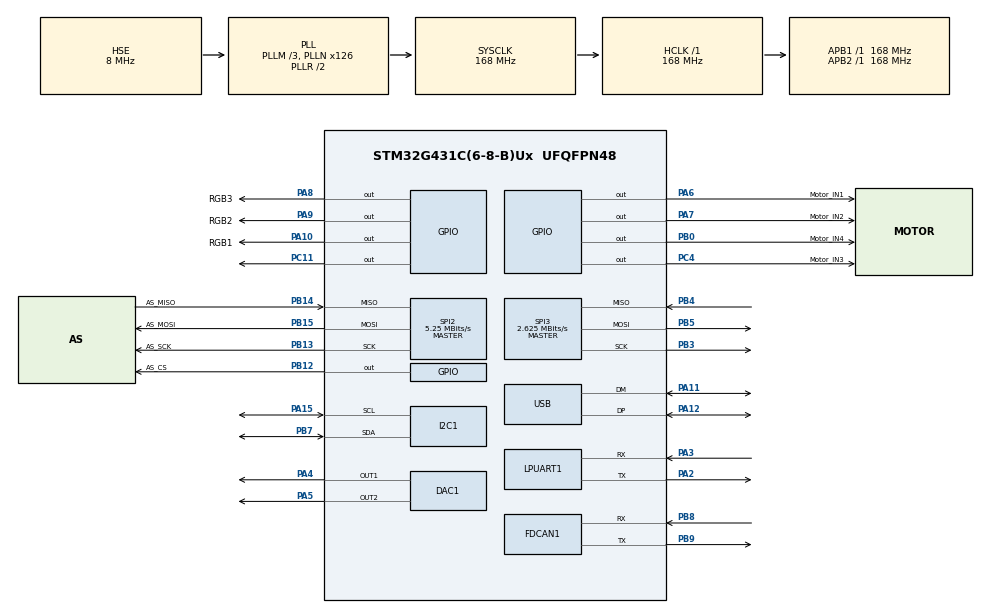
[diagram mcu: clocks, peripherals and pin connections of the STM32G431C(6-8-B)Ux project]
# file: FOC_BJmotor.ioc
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DAC1.DAC_Channel-DAC_OUT2=DAC_CHANNEL_2
FDCAN1.CalculateBaudRateNominal=2100000
FDCAN1.CalculateTimeBitNominal=476
FDCAN1.CalculateTimeQuantumNominal=95.23809523809524
I2C1.Timing=0x60505F8C
Mcu.Family=STM32G4
Mcu.Name=STM32G431C(6-8-B)Ux
Mcu.Package=UFQFPN48
NVIC.PriorityGroup=NVIC_PRIORITYGROUP_4
NVIC.TIM6_DAC_IRQn=true\:2\:0\:true\:false\:true\:true\:true\:true
NVIC.USB_LP_IRQn=true\:0\:0\:false\:false\:true\:false\:true\:true
PA10.GPIO_Label=RGB1
PA10.Signal=GPIO_Output
PA11.Mode=Device
PA11.Signal=USB_DM
PA12.Mode=Device
PA12.Signal=USB_DP
PA13.Mode=Serial_Wire
PA13.Signal=SYS_JTMS-SWDIO
PA14.Mode=Serial_Wire
PA14.Signal=SYS_JTCK-SWCLK
PA15.Mode=I2C
PA15.Signal=I2C1_SCL
PA2.Mode=Asynchronous
PA2.Signal=LPUART1_TX
PA3.Mode=Asynchronous
PA3.Signal=LPUART1_RX
PA4.Signal=COMP_DAC11_group
PA5.Signal=COMP_DAC12_group
PA6.GPIO_Label=Motor_IN1
PA6.Signal=GPIO_Output
PA7.GPIO_Label=Motor_IN2
PA7.Signal=GPIO_Output
PA8.GPIO_Label=RGB3
PA8.Signal=GPIO_Output
PA9.GPIO_Label=RGB2
PA9.Signal=GPIO_Output
PB0.GPIO_Label=Motor_IN4
PB0.Signal=GPIO_Output
PB12.GPIO_Label=AS_CS
PB12.Signal=GPIO_Output
PB13.GPIO_Label=AS_SCK
PB13.Mode=Full_Duplex_Master
PB13.Signal=SPI2_SCK
PB14.GPIO_Label=AS_MISO
PB14.Mode=Full_Duplex_Master
PB14.Signal=SPI2_MISO
PB15.GPIO_Label=AS_MOSI
PB15.Mode=Full_Duplex_Master
PB15.Signal=SPI2_MOSI
PB3.Mode=Full_Duplex_Master
PB3.Signal=SPI3_SCK
PB4.Mode=Full_Duplex_Master
PB4.Signal=SPI3_MISO
PB5.Mode=Full_Duplex_Master
PB5.Signal=SPI3_MOSI
PB7.Mode=I2C
PB7.Signal=I2C1_SDA
PB8-BOOT0.Mode=FDCAN_Activate
PB8-BOOT0.Signal=FDCAN1_RX
PB9.Mode=FDCAN_Activate
PB9.Signal=FDCAN1_TX
PC11.Signal=GPIO_Output
PC4.GPIO_Label=Motor_IN3
PC4.Signal=GPIO_Output
PF0-OSC_IN.Mode=HSE-External-Clock-Source
PF0-OSC_IN.Signal=RCC_OSC_IN
ProjectManager.HeapSize=0x200
ProjectManager.StackSize=0x400
ProjectManager.TargetToolchain=MDK-ARM V5.32
RCC.ADC12Freq_Value=168000000
RCC.AHBFreq_Value=168000000
RCC.APB1Freq_Value=168000000
RCC.APB1TimFreq_Value=168000000
RCC.APB2Freq_Value=168000000
RCC.APB2TimFreq_Value=168000000
RCC.CK48CLockSelection=RCC_USBCLKSOURCE_HSI48
RCC.CortexFreq_Value=168000000
RCC.EXTERNAL_CLOCK_VALUE=12288000
RCC.HCLKFreq_Value=168000000
RCC.HSE_VALUE=8000000
RCC.HSI48_VALUE=48000000
RCC.HSI_VALUE=16000000
RCC.LSE_VALUE=32768
RCC.PLLM=RCC_PLLM_DIV3
RCC.PLLN=126
RCC.PLLQ=RCC_PLLQ_DIV6
RCC.PLLSourceVirtual=RCC_PLLSOURCE_HSE
RCC.SYSCLKFreq_VALUE=168000000
RCC.SYSCLKSource=RCC_SYSCLKSOURCE_PLLCLK
RCC.USBFreq_Value=48000000
RCC.VCOOutputFreq_Value=336000000
SH.COMP_DAC11_group.0=DAC1_OUT1,DAC_OUT1
SH.COMP_DAC12_group.0=DAC1_OUT2,DAC_OUT2
SPI2.BaudRatePrescaler=SPI_BAUDRATEPRESCALER_32
SPI2.CLKPhase=SPI_PHASE_2EDGE
SPI2.CalculateBaudRate=5.25 MBits/s
SPI2.DataSize=SPI_DATASIZE_16BIT
SPI2.Direction=SPI_DIRECTION_2LINES
SPI2.Mode=SPI_MODE_MASTER
SPI2.VirtualType=VM_MASTER
SPI3.BaudRatePrescaler=SPI_BAUDRATEPRESCALER_64
SPI3.CLKPhase=SPI_PHASE_2EDGE
SPI3.CalculateBaudRate=2.625 MBits/s
SPI3.Direction=SPI_DIRECTION_2LINES
SPI3.Mode=SPI_MODE_MASTER
SPI3.VirtualType=VM_MASTER
TIM6.AutoReloadPreload=TIM_AUTORELOAD_PRELOAD_ENABLE
TIM6.PeriodNoDither=1680
TIM6.Prescaler=10
USB_DEVICE.CLASS_NAME_FS=CDC
USB_DEVICE.VirtualMode=Cdc
USB_DEVICE.VirtualModeFS=Cdc_FS
VP_SYS_VS_DBSignals.Mode=DisableDeadBatterySignals
VP_TIM6_VS_ClockSourceINT.Mode=Enable_Timer
VP_USB_DEVICE_VS_USB_DEVICE_CDC_FS.Mode=CDC_FS
board=custom

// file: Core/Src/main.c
/* USER CODE BEGIN Header */
/**
  ******************************************************************************
  * @file           : main.c
  * @brief          : Main program body
  ******************************************************************************
  * @attention
  *
  * Copyright (c) 2024 STMicroelectronics.
  * All rights reserved.
  *
  * This software is licensed under terms that can be found in the LICENSE file
  * in the root directory of this software component.
  * If no LICENSE file comes with this software, it is provided AS-IS.
  *
  ******************************************************************************
  */
/* USER CODE END Header */
#include "main.h"
#include "usb_device.h"

/* USER CODE BEGIN Includes */
#include "arm_math.h"
#include "stdbool.h"
#include "./FocCtr.h"
#include "./pll.h"
/* USER CODE END Includes */

/* USER CODE BEGIN PTD */

#define AS_CS_H HAL_GPIO_WritePin(GPIOB, AS_CS_Pin, 1);
#define AS_CS_L HAL_GPIO_WritePin(GPIOB, AS_CS_Pin, 0);

/* USER CODE END PTD */

DAC_HandleTypeDef hdac1;

FDCAN_HandleTypeDef hfdcan1;

I2C_HandleTypeDef hi2c1;

UART_HandleTypeDef hlpuart1;

SPI_HandleTypeDef hspi2;
SPI_HandleTypeDef hspi3;

TIM_HandleTypeDef htim6;

void SystemClock_Config(void);
static void MX_GPIO_Init(void);
static void MX_DAC1_Init(void);
static void MX_FDCAN1_Init(void);
static void MX_I2C1_Init(void);
static void MX_LPUART1_UART_Init(void);
static void MX_SPI2_Init(void);
static void MX_SPI3_Init(void);
static void MX_TIM6_Init(void);
/* USER CODE BEGIN PFP */

struct send_data my_data;
extern uint8_t CDC_Transmit_FS(uint8_t* Buf, uint16_t Len);

void send(char *dat,uint32_t len)
{

      	CDC_Transmit_FS((uint8_t *)dat, len);

}

uint16_t SPI_recive_data;

uint16_t SPI_send_data,SPI_recive_data_begin;

void Get_Aagel()
{
	SPI_send_data|=0x3fff;
	AS_CS_L
	HAL_SPI_TransmitReceive(&hspi2,(uint8_t*)&SPI_send_data,(uint8_t*)&SPI_recive_data,1,10);
	SPI_recive_data &= 0x3fff;
	AS_CS_H
	if(isready==0)
	{
		SPI_recive_data_begin=SPI_recive_data;

	}

}

/* USER CODE END PFP */

/* USER CODE BEGIN 0 */

uint8_t Times2,times4;
int Times20;
uint8_t fangxiang=0;
void HAL_TIM_PeriodElapsedCallback(TIM_HandleTypeDef *htim)
{
	if(htim == &htim6)  //判断中断是否来自于定时器1
   {
		 Times2++;
		 times4++;
		 Times20++;
			HAL_GPIO_TogglePin(GPIOA,RGB3_Pin);  //翻转LED灯的状态

			Get_Aagel();

		  SVPWM();
		 if(isready==1)
		 {
				speed_loop();
		 }
		  if(times4==4&&isready==1)
			{
					Position_loop();
					times4=0;
			}

		 if(Times20==100000)
		 {

			if(fangxiang==0)
			{
				Target_angel+=1;
				fangxiang=1;
			}

			else if(fangxiang==1)
			{
				Target_angel-=1;
				fangxiang=0;
			}

			 Times20=0;

		 }

		my_data.DATA[0]=SPI_recive_data;
		my_data.DATA[1]=pos_vel.radio;
		my_data.DATA[2]=pos_vel.vel;
		my_data.DATA[3]=pos_vel.pos;

		CDC_Transmit_FS((char *)&my_data, sizeof(my_data));
   }

}

void Set_DAC_Value(short PWM_A,short PWM_B)
{
	if(PWM_A>=0)
	{
		  HAL_GPIO_WritePin(GPIOA, Motor_IN1_Pin, 1);
			HAL_GPIO_WritePin(GPIOA, Motor_IN2_Pin,0);
			HAL_DAC_SetValue(&hdac1,DAC_CHANNEL_1,DAC_ALIGN_12B_R,PWM_A);
	}
	else if(PWM_A<0)
	{
			HAL_GPIO_WritePin(GPIOA, Motor_IN1_Pin, 0);
			HAL_GPIO_WritePin(GPIOA, Motor_IN2_Pin,1);
			HAL_DAC_SetValue(&hdac1,DAC_CHANNEL_1,DAC_ALIGN_12B_R,(-PWM_A));
	}
		if(PWM_B>=0)
	{
		  HAL_GPIO_WritePin(GPIOC, Motor_IN3_Pin, 1);
			HAL_GPIO_WritePin(GPIOB, Motor_IN4_Pin, 0);
			HAL_DAC_SetValue(&hdac1,DAC_CHANNEL_2,DAC_ALIGN_12B_R,(PWM_B));

	}
	else if(PWM_B<0)
	{
		  HAL_GPIO_WritePin(GPIOC, Motor_IN3_Pin, 0);
			HAL_GPIO_WritePin(GPIOB, Motor_IN4_Pin, 1);
			HAL_DAC_SetValue(&hdac1,DAC_CHANNEL_2,DAC_ALIGN_12B_R,(-PWM_B));
	}

}

/* USER CODE END 0 */

int main(void)
{

  /* MCU Configuration--------------------------------------------------------*/

  /* Reset of all peripherals, Initializes the Flash interface and the Systick. */
  HAL_Init();

  /* USER CODE BEGIN Init */

		my_data.tail[0]=0x00;
		my_data.tail[1]=0x00;
		my_data.tail[2]=0x80;
		my_data.tail[3]=0x7F;

  /* USER CODE END Init */

  /* Configure the system clock */
  SystemClock_Config();

  /* Initialize all configured peripherals */
  MX_GPIO_Init();
  MX_DAC1_Init();
  MX_FDCAN1_Init();
  MX_I2C1_Init();
  MX_LPUART1_UART_Init();
  MX_SPI2_Init();
  MX_SPI3_Init();
  MX_TIM6_Init();
  MX_USB_Device_Init();
  /* USER CODE BEGIN 2 */
 HAL_DAC_Start(&hdac1,DAC1_CHANNEL_1);
 HAL_DAC_Start(&hdac1,DAC1_CHANNEL_2);

 HAL_TIM_Base_Start_IT(&htim6);
 HAL_GPIO_WritePin(GPIOA,RGB1_Pin,1);
 HAL_GPIO_WritePin(GPIOA,RGB2_Pin,1);
 HAL_GPIO_WritePin(GPIOA,RGB3_Pin,1);
 Get_Aagel();
  /* USER CODE END 2 */

  /* Infinite loop */
  while (1)
  {

    /* USER CODE BEGIN 3 */

		if(isready==0)
		{
			HAL_Delay(1000);
			ud=0;
			//uq=1.5;
			isready=1;

		}

  }
  /* USER CODE END 3 */
}

void SystemClock_Config(void)
{
  RCC_OscInitTypeDef RCC_OscInitStruct = {0};
  RCC_ClkInitTypeDef RCC_ClkInitStruct = {0};

  /** Configure the main internal regulator output voltage
  */
  HAL_PWREx_ControlVoltageScaling(PWR_REGULATOR_VOLTAGE_SCALE1_BOOST);

  /** Initializes the RCC Oscillators according to the specified parameters
  * in the RCC_OscInitTypeDef structure.
  */
  RCC_OscInitStruct.OscillatorType = RCC_OSCILLATORTYPE_HSI48|RCC_OSCILLATORTYPE_HSE;
  RCC_OscInitStruct.HSEState = RCC_HSE_BYPASS;
  RCC_OscInitStruct.HSI48State = RCC_HSI48_ON;
  RCC_OscInitStruct.PLL.PLLState = RCC_PLL_ON;
  RCC_OscInitStruct.PLL.PLLSource = RCC_PLLSOURCE_HSE;
  RCC_OscInitStruct.PLL.PLLM = RCC_PLLM_DIV3;
  RCC_OscInitStruct.PLL.PLLN = 126;
  RCC_OscInitStruct.PLL.PLLP = RCC_PLLP_DIV2;
  RCC_OscInitStruct.PLL.PLLQ = RCC_PLLQ_DIV6;
  RCC_OscInitStruct.PLL.PLLR = RCC_PLLR_DIV2;
  if (HAL_RCC_OscConfig(&RCC_OscInitStruct) != HAL_OK)
  {
    Error_Handler();
  }

  /** Initializes the CPU, AHB and APB buses clocks
  */
  RCC_ClkInitStruct.ClockType = RCC_CLOCKTYPE_HCLK|RCC_CLOCKTYPE_SYSCLK
                              |RCC_CLOCKTYPE_PCLK1|RCC_CLOCKTYPE_PCLK2;
  RCC_ClkInitStruct.SYSCLKSource = RCC_SYSCLKSOURCE_PLLCLK;
  RCC_ClkInitStruct.AHBCLKDivider = RCC_SYSCLK_DIV1;
  RCC_ClkInitStruct.APB1CLKDivider = RCC_HCLK_DIV1;
  RCC_ClkInitStruct.APB2CLKDivider = RCC_HCLK_DIV1;

  if (HAL_RCC_ClockConfig(&RCC_ClkInitStruct, FLASH_LATENCY_4) != HAL_OK)
  {
    Error_Handler();
  }
}

static void MX_DAC1_Init(void)
{

  DAC_ChannelConfTypeDef sConfig = {0};

  /** DAC Initialization
  */
  hdac1.Instance = DAC1;
  if (HAL_DAC_Init(&hdac1) != HAL_OK)
  {
    Error_Handler();
  }

  /** DAC channel OUT1 config
  */
  sConfig.DAC_HighFrequency = DAC_HIGH_FREQUENCY_INTERFACE_MODE_AUTOMATIC;
  sConfig.DAC_DMADoubleDataMode = DISABLE;
  sConfig.DAC_SignedFormat = DISABLE;
  sConfig.DAC_SampleAndHold = DAC_SAMPLEANDHOLD_DISABLE;
  sConfig.DAC_Trigger = DAC_TRIGGER_NONE;
  sConfig.DAC_Trigger2 = DAC_TRIGGER_NONE;
  sConfig.DAC_OutputBuffer = DAC_OUTPUTBUFFER_ENABLE;
  sConfig.DAC_ConnectOnChipPeripheral = DAC_CHIPCONNECT_EXTERNAL;
  sConfig.DAC_UserTrimming = DAC_TRIMMING_FACTORY;
  if (HAL_DAC_ConfigChannel(&hdac1, &sConfig, DAC_CHANNEL_1) != HAL_OK)
  {
    Error_Handler();
  }

  /** DAC channel OUT2 config
  */
  if (HAL_DAC_ConfigChannel(&hdac1, &sConfig, DAC_CHANNEL_2) != HAL_OK)
  {
    Error_Handler();
  }

}

static void MX_FDCAN1_Init(void)
{

  hfdcan1.Instance = FDCAN1;
  hfdcan1.Init.ClockDivider = FDCAN_CLOCK_DIV1;
  hfdcan1.Init.FrameFormat = FDCAN_FRAME_CLASSIC;
  hfdcan1.Init.Mode = FDCAN_MODE_NORMAL;
  hfdcan1.Init.AutoRetransmission = DISABLE;
  hfdcan1.Init.TransmitPause = DISABLE;
  hfdcan1.Init.ProtocolException = DISABLE;
  hfdcan1.Init.NominalPrescaler = 16;
  hfdcan1.Init.NominalSyncJumpWidth = 1;
  hfdcan1.Init.NominalTimeSeg1 = 2;
  hfdcan1.Init.NominalTimeSeg2 = 2;
  hfdcan1.Init.DataPrescaler = 1;
  hfdcan1.Init.DataSyncJumpWidth = 1;
  hfdcan1.Init.DataTimeSeg1 = 1;
  hfdcan1.Init.DataTimeSeg2 = 1;
  hfdcan1.Init.StdFiltersNbr = 0;
  hfdcan1.Init.ExtFiltersNbr = 0;
  hfdcan1.Init.TxFifoQueueMode = FDCAN_TX_FIFO_OPERATION;
  if (HAL_FDCAN_Init(&hfdcan1) != HAL_OK)
  {
    Error_Handler();
  }

}

static void MX_I2C1_Init(void)
{

  hi2c1.Instance = I2C1;
  hi2c1.Init.Timing = 0x60505F8C;
  hi2c1.Init.OwnAddress1 = 0;
  hi2c1.Init.AddressingMode = I2C_ADDRESSINGMODE_7BIT;
  hi2c1.Init.DualAddressMode = I2C_DUALADDRESS_DISABLE;
  hi2c1.Init.OwnAddress2 = 0;
  hi2c1.Init.OwnAddress2Masks = I2C_OA2_NOMASK;
  hi2c1.Init.GeneralCallMode = I2C_GENERALCALL_DISABLE;
  hi2c1.Init.NoStretchMode = I2C_NOSTRETCH_DISABLE;
  if (HAL_I2C_Init(&hi2c1) != HAL_OK)
  {
    Error_Handler();
  }

  /** Configure Analogue filter
  */
  if (HAL_I2CEx_ConfigAnalogFilter(&hi2c1, I2C_ANALOGFILTER_ENABLE) != HAL_OK)
  {
    Error_Handler();
  }

  /** Configure Digital filter
  */
  if (HAL_I2CEx_ConfigDigitalFilter(&hi2c1, 0) != HAL_OK)
  {
    Error_Handler();
  }

}

static void MX_LPUART1_UART_Init(void)
{

  hlpuart1.Instance = LPUART1;
  hlpuart1.Init.BaudRate = 209700;
  hlpuart1.Init.WordLength = UART_WORDLENGTH_8B;
  hlpuart1.Init.StopBits = UART_STOPBITS_1;
  hlpuart1.Init.Parity = UART_PARITY_NONE;
  hlpuart1.Init.Mode = UART_MODE_TX_RX;
  hlpuart1.Init.HwFlowCtl = UART_HWCONTROL_NONE;
  hlpuart1.Init.OneBitSampling = UART_ONE_BIT_SAMPLE_DISABLE;
  hlpuart1.Init.ClockPrescaler = UART_PRESCALER_DIV1;
  hlpuart1.AdvancedInit.AdvFeatureInit = UART_ADVFEATURE_NO_INIT;
  if (HAL_UART_Init(&hlpuart1) != HAL_OK)
  {
    Error_Handler();
  }
  if (HAL_UARTEx_SetTxFifoThreshold(&hlpuart1, UART_TXFIFO_THRESHOLD_1_8) != HAL_OK)
  {
    Error_Handler();
  }
  if (HAL_UARTEx_SetRxFifoThreshold(&hlpuart1, UART_RXFIFO_THRESHOLD_1_8) != HAL_OK)
  {
    Error_Handler();
  }
  if (HAL_UARTEx_DisableFifoMode(&hlpuart1) != HAL_OK)
  {
    Error_Handler();
  }

}

static void MX_SPI2_Init(void)
{

  /* SPI2 parameter configuration*/
  hspi2.Instance = SPI2;
  hspi2.Init.Mode = SPI_MODE_MASTER;
  hspi2.Init.Direction = SPI_DIRECTION_2LINES;
  hspi2.Init.DataSize = SPI_DATASIZE_16BIT;
  hspi2.Init.CLKPolarity = SPI_POLARITY_LOW;
  hspi2.Init.CLKPhase = SPI_PHASE_2EDGE;
  hspi2.Init.NSS = SPI_NSS_SOFT;
  hspi2.Init.BaudRatePrescaler = SPI_BAUDRATEPRESCALER_32;
  hspi2.Init.FirstBit = SPI_FIRSTBIT_MSB;
  hspi2.Init.TIMode = SPI_TIMODE_DISABLE;
  hspi2.Init.CRCCalculation = SPI_CRCCALCULATION_DISABLE;
  hspi2.Init.CRCPolynomial = 7;
  hspi2.Init.CRCLength = SPI_CRC_LENGTH_DATASIZE;
  hspi2.Init.NSSPMode = SPI_NSS_PULSE_DISABLE;
  if (HAL_SPI_Init(&hspi2) != HAL_OK)
  {
    Error_Handler();
  }

}

static void MX_SPI3_Init(void)
{

  /* SPI3 parameter configuration*/
  hspi3.Instance = SPI3;
  hspi3.Init.Mode = SPI_MODE_MASTER;
  hspi3.Init.Direction = SPI_DIRECTION_2LINES;
  hspi3.Init.DataSize = SPI_DATASIZE_4BIT;
  hspi3.Init.CLKPolarity = SPI_POLARITY_LOW;
  hspi3.Init.CLKPhase = SPI_PHASE_2EDGE;
  hspi3.Init.NSS = SPI_NSS_SOFT;
  hspi3.Init.BaudRatePrescaler = SPI_BAUDRATEPRESCALER_64;
  hspi3.Init.FirstBit = SPI_FIRSTBIT_MSB;
  hspi3.Init.TIMode = SPI_TIMODE_DISABLE;
  hspi3.Init.CRCCalculation = SPI_CRCCALCULATION_DISABLE;
  hspi3.Init.CRCPolynomial = 7;
  hspi3.Init.CRCLength = SPI_CRC_LENGTH_DATASIZE;
  hspi3.Init.NSSPMode = SPI_NSS_PULSE_DISABLE;
  if (HAL_SPI_Init(&hspi3) != HAL_OK)
  {
    Error_Handler();
  }

}

static void MX_TIM6_Init(void)
{

  TIM_MasterConfigTypeDef sMasterConfig = {0};

  htim6.Instance = TIM6;
  htim6.Init.Prescaler = 5;
  htim6.Init.CounterMode = TIM_COUNTERMODE_UP;
  htim6.Init.Period = 1680;
  htim6.Init.AutoReloadPreload = TIM_AUTORELOAD_PRELOAD_ENABLE;
  if (HAL_TIM_Base_Init(&htim6) != HAL_OK)
  {
    Error_Handler();
  }
  sMasterConfig.MasterOutputTrigger = TIM_TRGO_RESET;
  sMasterConfig.MasterSlaveMode = TIM_MASTERSLAVEMODE_DISABLE;
  if (HAL_TIMEx_MasterConfigSynchronization(&htim6, &sMasterConfig) != HAL_OK)
  {
    Error_Handler();
  }

}

static void MX_GPIO_Init(void)
{
  GPIO_InitTypeDef GPIO_InitStruct = {0};

  /* GPIO Ports Clock Enable */
  __HAL_RCC_GPIOF_CLK_ENABLE();
  __HAL_RCC_GPIOA_CLK_ENABLE();
  __HAL_RCC_GPIOC_CLK_ENABLE();
  __HAL_RCC_GPIOB_CLK_ENABLE();

  /*Configure GPIO pin Output Level */
  HAL_GPIO_WritePin(GPIOA, Motor_IN1_Pin|Motor_IN2_Pin|RGB3_Pin|RGB2_Pin
                          |RGB1_Pin, GPIO_PIN_RESET);

  /*Configure GPIO pin Output Level */
  HAL_GPIO_WritePin(GPIOC, Motor_IN3_Pin|GPIO_PIN_11, GPIO_PIN_RESET);

  /*Configure GPIO pin Output Level */
  HAL_GPIO_WritePin(GPIOB, Motor_IN4_Pin|AS_CS_Pin, GPIO_PIN_RESET);

  /*Configure GPIO pins : Motor_IN1_Pin Motor_IN2_Pin RGB3_Pin RGB2_Pin
                           RGB1_Pin */
  GPIO_InitStruct.Pin = Motor_IN1_Pin|Motor_IN2_Pin|RGB3_Pin|RGB2_Pin
                          |RGB1_Pin;
  GPIO_InitStruct.Mode = GPIO_MODE_OUTPUT_PP;
  GPIO_InitStruct.Pull = GPIO_NOPULL;
  GPIO_InitStruct.Speed = GPIO_SPEED_FREQ_LOW;
  HAL_GPIO_Init(GPIOA, &GPIO_InitStruct);

  /*Configure GPIO pins : Motor_IN3_Pin PC11 */
  GPIO_InitStruct.Pin = Motor_IN3_Pin|GPIO_PIN_11;
  GPIO_InitStruct.Mode = GPIO_MODE_OUTPUT_PP;
  GPIO_InitStruct.Pull = GPIO_NOPULL;
  GPIO_InitStruct.Speed = GPIO_SPEED_FREQ_LOW;
  HAL_GPIO_Init(GPIOC, &GPIO_InitStruct);

  /*Configure GPIO pins : Motor_IN4_Pin AS_CS_Pin */
  GPIO_InitStruct.Pin = Motor_IN4_Pin|AS_CS_Pin;
  GPIO_InitStruct.Mode = GPIO_MODE_OUTPUT_PP;
  GPIO_InitStruct.Pull = GPIO_NOPULL;
  GPIO_InitStruct.Speed = GPIO_SPEED_FREQ_LOW;
  HAL_GPIO_Init(GPIOB, &GPIO_InitStruct);

}

void Error_Handler(void)
{
  __disable_irq();
  while (1)
  {
  }
}
